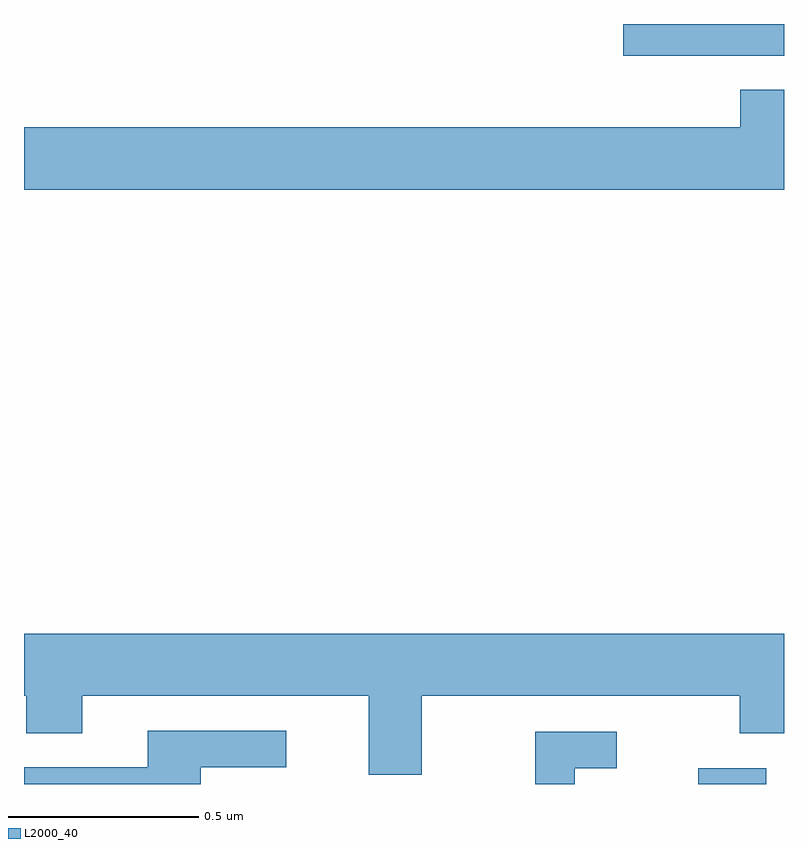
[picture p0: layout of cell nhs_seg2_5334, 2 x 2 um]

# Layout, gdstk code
import gdstk
lib = gdstk.Library(unit=1e-6, precision=1e-09)
def R(c, l, rs):  # rectangles x0, y0, x1, y1
    for r in rs: c.add(gdstk.rectangle(r[:2], r[2:], *l))
def P(c, l, *ps):  # polygons
    for p in ps: c.add(gdstk.Polygon(p, *l))
L2000_40 = (2000, 40)

nhs_seg2_5334 = lib.new_cell('nhs_seg2_5334')
R(nhs_seg2_5334, L2000_40, [(179.774,584.8,179.953,584.842), (179.577,586.716,180,586.8)])
P(nhs_seg2_5334, L2000_40, [(180,586.627),(179.885,586.627),(179.885,586.528),(178,586.528),(178,586.364),(180,586.364)],
  [(179.047,585.032),(179.884,585.032),(179.884,584.933),(180,584.933),(180,585.196),(178,585.196),(178,585.032),(178.006,585.032),(178.006,584.933),(178.153,584.933),(178.153,585.032),(178.907,585.032),(178.907,584.824),(179.047,584.824)],
  [(178.465,584.844),(178.69,584.844),(178.69,584.94),(178.325,584.94),(178.325,584.844),(178,584.844),(178,584.8),(178.465,584.8)],
  [(179.449,584.841),(179.56,584.841),(179.56,584.937),(179.345,584.937),(179.345,584.8),(179.449,584.8)])

lib.write_gds('nhs_seg2_5334.gds')
